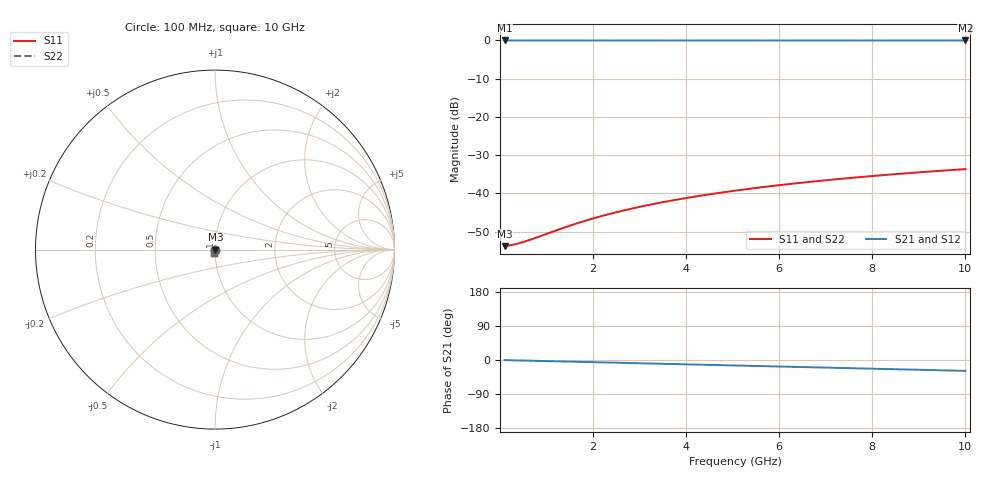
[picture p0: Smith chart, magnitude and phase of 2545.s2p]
# Hz S RI R 50.00
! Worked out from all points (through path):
!   100 points, 100 MHz to 10 GHz, reference 50 ohm
!   highest |S21| = -0.02 dB at 100 MHz (marker M1); lowest = 0.0 dB at 10 GHz (marker M2)
!   group delay of S21, straight-line fit = 7.97 ps
!   lowest |S11| = -53.8 dB at 100 MHz (marker M3), VSWR 1.00, Z = 50.2 - j0.0222 ohm
!   |S11| at or under -10 dB: start of sweep to end of sweep
!   |S22| runs from -53.8 to -33.6 dB; largest |S21 - S12| = 0
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1e8  0.00204 -0.000221  0.9979 -0.00497  0.9979 -0.00497  0.00204 -0.000221
2e8  0.00204 -0.000442  0.9979 -0.00995  0.9979 -0.00995  0.00204 -0.000442
3e8  0.00205 -0.000663  0.9978 -0.0149  0.9978 -0.0149  0.00205 -0.000663
4e8  0.00204 -0.000884  0.9977 -0.0199  0.9977 -0.0199  0.00204 -0.000884
5e8  0.00204 -0.0011  0.9976 -0.0249  0.9976 -0.0249  0.00204 -0.0011
7e8  0.00202 -0.00155  0.9973 -0.0348  0.9973 -0.0348  0.00202 -0.00155
1.4e9  0.00187 -0.00309  0.9954 -0.0696  0.9954 -0.0696  0.00187 -0.00309
1.8e9  0.00174 -0.00397  0.9938 -0.0894  0.9938 -0.0894  0.00174 -0.00397
2.2e9  0.00157 -0.00485  0.9918 -0.1092  0.9918 -0.1092  0.00157 -0.00485
2.6e9  0.00136 -0.00572  0.9894 -0.129  0.9894 -0.129  0.00136 -0.00572
3e9  0.00112 -0.00658  0.9866 -0.1487  0.9866 -0.1487  0.00112 -0.00658
3.4e9  0.000845 -0.00744  0.9834 -0.1684  0.9834 -0.1684  0.000845 -0.00744
3.8e9  0.000535 -0.00828  0.9798 -0.188  0.9798 -0.188  0.000535 -0.00828
4.2e9  0.000192 -0.00912  0.9758 -0.2076  0.9758 -0.2076  0.000192 -0.00912
4.6e9  -0.000185 -0.00994  0.9714 -0.2271  0.9714 -0.2271  -0.000185 -0.00994
5.1e9  -0.000703 -0.0109  0.9654 -0.2513  0.9654 -0.2513  -0.000703 -0.0109
5.9e9  -0.00163 -0.0125  0.9545 -0.2898  0.9545 -0.2898  -0.00163 -0.0125
6.7e9  -0.00269 -0.014  0.9421 -0.3278  0.9421 -0.3278  -0.00269 -0.014
7.5e9  -0.00386 -0.0154  0.9281 -0.3654  0.9281 -0.3654  -0.00386 -0.0154
8.4e9  -0.0053 -0.0169  0.9105 -0.4069  0.9105 -0.4069  -0.0053 -0.0169
9.2e9  -0.00669 -0.0181  0.8933 -0.4433  0.8933 -0.4433  -0.00669 -0.0181
1e10  -0.00817 -0.0191  0.8747 -0.4789  0.8747 -0.4789  -0.00817 -0.0191
